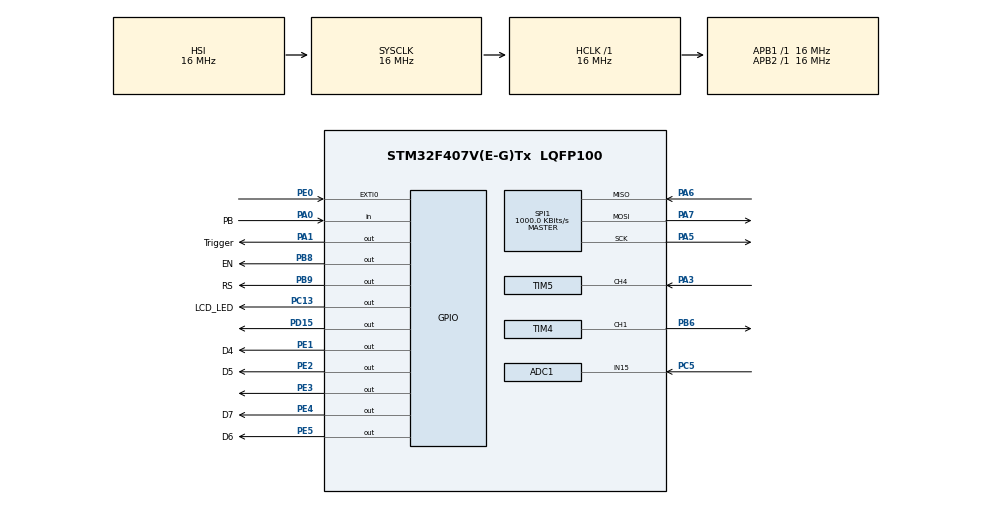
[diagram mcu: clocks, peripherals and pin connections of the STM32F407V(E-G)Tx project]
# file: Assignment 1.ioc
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ADC1.Channel-0\#ChannelRegularConversion=ADC_CHANNEL_15
ADC1.NbrOfConversionFlag=1
ADC1.Rank-0\#ChannelRegularConversion=1
ADC1.Resolution=ADC_RESOLUTION_12B
ADC1.SamplingTime-0\#ChannelRegularConversion=ADC_SAMPLETIME_3CYCLES
ADC1.master=1
Mcu.Family=STM32F4
Mcu.Name=STM32F407V(E-G)Tx
Mcu.Package=LQFP100
NVIC.EXTI0_IRQn=true\:0\:0\:false\:false\:true\:true\:true
NVIC.PriorityGroup=NVIC_PRIORITYGROUP_4
NVIC.TIM5_IRQn=true\:0\:0\:false\:false\:true\:true\:true
PA0-WKUP.GPIO_Label=PB
PA0-WKUP.Signal=GPIO_Input
PA1.GPIO_Label=Trigger
PA1.Signal=GPIO_Output
PA3.Signal=S_TIM5_CH4
PA5.Mode=Full_Duplex_Master
PA5.Signal=SPI1_SCK
PA6.Mode=Full_Duplex_Master
PA6.Signal=SPI1_MISO
PA7.Mode=Full_Duplex_Master
PA7.Signal=SPI1_MOSI
PB6.Signal=S_TIM4_CH1
PB8.GPIO_Label=EN
PB8.Signal=GPIO_Output
PB9.GPIO_Label=RS
PB9.Signal=GPIO_Output
PC13-ANTI_TAMP.GPIO_Label=LCD_LED
PC13-ANTI_TAMP.Signal=GPIO_Output
PC5.Signal=ADCx_IN15
PD15.Signal=GPIO_Output
PE0.Signal=GPXTI0
PE1.GPIO_Label=D4
PE1.Signal=GPIO_Output
PE2.GPIO_Label=D5
PE2.Signal=GPIO_Output
PE3.PinState=GPIO_PIN_SET
PE3.Signal=GPIO_Output
PE4.GPIO_Label=D7
PE4.Signal=GPIO_Output
PE5.GPIO_Label=D6
PE5.Signal=GPIO_Output
ProjectManager.HeapSize=0x200
ProjectManager.StackSize=0x400
ProjectManager.TargetToolchain=MDK-ARM V5
RCC.AHBFreq_Value=16000000
RCC.APB1Freq_Value=16000000
RCC.APB2Freq_Value=16000000
RCC.CortexFreq_Value=16000000
RCC.HSE_VALUE=25000000
RCC.HSI_VALUE=16000000
RCC.LSE_VALUE=32768
RCC.SYSCLKFreq_VALUE=16000000
RCC.VCOOutputFreq_Value=192000000
SH.ADCx_IN15.0=ADC1_IN15,IN15
SH.S_TIM4_CH1.0=TIM4_CH1,PWM Generation1 CH1
SH.S_TIM5_CH4.0=TIM5_CH4,Input_Capture4_from_TI4
SPI1.BaudRatePrescaler=SPI_BAUDRATEPRESCALER_16
SPI1.CalculateBaudRate=1000.0 KBits/s
SPI1.Direction=SPI_DIRECTION_2LINES
SPI1.Mode=SPI_MODE_MASTER
SPI1.VirtualType=VM_MASTER
TIM4.Channel-PWM\ Generation1\ CH1=TIM_CHANNEL_1
TIM4.Period=100
TIM4.Prescaler=16
TIM4.Pulse-PWM\ Generation1\ CH1=10
TIM5.Channel-Input_Capture4_from_TI4=TIM_CHANNEL_4
TIM5.ICFilter_CH4=4
TIM5.ICPolarity_CH4=TIM_INPUTCHANNELPOLARITY_BOTHEDGE
TIM5.Prescaler=16-1
VP_TIM4_VS_ClockSourceINT.Mode=Internal
VP_TIM5_VS_ClockSourceINT.Mode=Internal
board=custom

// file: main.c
/* USER CODE BEGIN Header */
/**
  ******************************************************************************
  * @file           : main.c
  * @brief          : Main program body
  ******************************************************************************
  * @attention
  *
  * <h2><center>&copy; Copyright (c) 2021 STMicroelectronics.
  * All rights reserved.</center></h2>
  *
  * This software component is licensed by ST under BSD 3-Clause license,
  * the "License"; You may not use this file except in compliance with the
  * License. You may obtain a copy of the License at:
  *                        opensource.org/licenses/BSD-3-Clause
  *
  ******************************************************************************
  */
/* USER CODE END Header */
#include "main.h"

/* USER CODE BEGIN Includes */
#include "STM_MY_LCD16X2.h"
/* USER CODE END Includes */

/* USER CODE BEGIN PTD */
#define usTIM TIM4
/* USER CODE END PTD */

ADC_HandleTypeDef hadc1;

SPI_HandleTypeDef hspi1;

TIM_HandleTypeDef htim4;
TIM_HandleTypeDef htim5;

void SystemClock_Config(void);
static void MX_GPIO_Init(void);
static void MX_ADC1_Init(void);
static void MX_TIM4_Init(void);
static void MX_TIM5_Init(void);
static void MX_SPI1_Init(void);
/* USER CODE BEGIN PFP */
void usDelay(uint32_t uSec);
/* USER CODE END PFP */

/* USER CODE BEGIN 0 */
// Speed of sound divided by two as 2 directions
const float speedOfSound = 0.0343/2;
float distance;
uint32_t adcValue;
uint8_t icFlag = 0;
uint8_t captureIdx=0;
uint32_t edge1Time=0, edge2Time=0;

// For SPI
uint8_t spiTxBuf[2];
uint8_t spiRxBuf[6];
uint16_t x_data;
uint16_t y_data;
uint16_t z_data;
/* USER CODE END 0 */

int main(void)
{

  /* MCU Configuration--------------------------------------------------------*/

  /* Reset of all peripherals, Initializes the Flash interface and the Systick. */
  HAL_Init();

  /* Configure the system clock */
  SystemClock_Config();

  /* Initialize all configured peripherals */
  MX_GPIO_Init();
  MX_ADC1_Init();
  MX_TIM4_Init();
  MX_TIM5_Init();
  MX_SPI1_Init();
  /* USER CODE BEGIN 2 */
	LCD1602_Begin4BIT(GPIOB, RS_Pin, EN_Pin, GPIOE, D4_Pin, D5_Pin, D6_Pin, D7_Pin);
  LCD1602_noCursor();
  LCD1602_noBlink();
  LCD1602_clear();
  /* USER CODE END 2 */

  /* Infinite loop */
  /* USER CODE BEGIN WHILE */
  char student_name[] = "Ciaran Mallory";
  char student_number[] = "K00238250";
	//uint32_t numTicks = 0;
	float adcVoltage = 0.0;
	uint32_t duty_cycle = 0;
	uint8_t count = 0;
	//GPIO_PinState PinState;

  HAL_GPIO_WritePin(GPIOC, LCD_LED_Pin, GPIO_PIN_SET);
  HAL_GPIO_WritePin(GPIOD, GPIO_PIN_12, GPIO_PIN_SET);

	// Printing Name and K number to LCD
	HAL_Delay(500);
	LCD1602_print(student_name);
	LCD1602_2ndLine();
	LCD1602_print(student_number);

	HAL_Delay(3000);
	LCD1602_clear();

	// Start PWM Channel
	HAL_TIM_PWM_Start(&htim4, TIM_CHANNEL_1);

  while (1)
  {
    /* USER CODE END WHILE */

    /* USER CODE BEGIN 3 */
			// Set up PWM channel
			htim4.Instance->CCR4 = adcValue;
			//while(HAL_GPIO_ReadPin(GPIOA, GPIO_PIN_0) == 0);
			//HAL_Delay(10);
			//count++;
			//count = count % 5;
			count++;

			switch(count)
			{
				case(1):
					LCD1602_clear();
					//LCD1602_clear();
					// Reading value from ADC pin PC5
					HAL_ADC_Start(&hadc1);
					if(HAL_ADC_PollForConversion(&hadc1, 5) == HAL_OK)
					{
						adcValue = HAL_ADC_GetValue(&hadc1);
					}
					HAL_ADC_Stop(&hadc1);
					HAL_Delay(100);

					LCD1602_1stLine();
					LCD1602_print("ADC Value: ");
					LCD1602_PrintInt(adcValue);
					adcVoltage = (float)adcValue * (3.0/4096.0);
					LCD1602_2ndLine();
					LCD1602_print("ADC Voltage: ");
					LCD1602_PrintFloat(adcVoltage,4);

					HAL_Delay(500);
					//LCD1602_clear();

				case(2):
					HAL_Delay(5000);
					LCD1602_clear();
					// Reading value from ADC pin PC5
					HAL_ADC_Start(&hadc1);
					if(HAL_ADC_PollForConversion(&hadc1, 5) == HAL_OK)
					{
						adcValue = HAL_ADC_GetValue(&hadc1);
					}
					HAL_ADC_Stop(&hadc1);
					HAL_Delay(100);

					//LCD1602_clear();
					duty_cycle = (uint32_t)(adcValue * 100/4096);
					adcVoltage = (float)adcValue * (3.0/4096.0);
					LCD1602_1stLine();
					LCD1602_print("ADC Voltage: ");
					LCD1602_PrintFloat(adcVoltage,4);
					LCD1602_2ndLine();
					LCD1602_print("Duty Cycle: ");
					LCD1602_PrintInt(duty_cycle);
					LCD1602_print("%");

					HAL_Delay(500);
					//LCD1602_clear();

				case(3):
					HAL_Delay(5000);
					LCD1602_clear();
					// Ultrasonic input capture method
					//Set TRIG to LOW for few uSec
					HAL_GPIO_WritePin(Trigger_GPIO_Port, Trigger_Pin, GPIO_PIN_RESET);
					usDelay(3);

					//*** START Ultrasonic measure routine ***//
					//1. Output 10 usec TRIG
					HAL_GPIO_WritePin(Trigger_GPIO_Port, Trigger_Pin, GPIO_PIN_SET);
					usDelay(10);
					HAL_GPIO_WritePin(Trigger_GPIO_Port, Trigger_Pin, GPIO_PIN_RESET);

					//2. ECHO signal pulse width
					//Start IC timer
					HAL_TIM_IC_Start_IT(&htim5, TIM_CHANNEL_4);
					//Wait for IC flag
					uint32_t startTick = HAL_GetTick();
					do
					{
						if(icFlag) break;
					}while((HAL_GetTick() - startTick) < 500);  //500ms
					icFlag = 0;
					HAL_TIM_IC_Stop_IT(&htim5, TIM_CHANNEL_4);

					//Calculate distance in cm
					if(edge2Time > edge1Time)
					{
						distance = ((edge2Time - edge1Time) + 0.0f)*speedOfSound;
					}
					else
					{
						distance = 0.0f;
					}

					// Print to LCD
					LCD1602_1stLine();
					LCD1602_print("Distance: ");
					LCD1602_PrintFloat(distance,4);
					HAL_Delay(500);
					//LCD1602_clear();
					//while(HAL_GPIO_ReadPin(GPIOA, GPIO_PIN_0) == 1);
					//HAL_Delay(10);

				case(4):
					LCD1602_clear();
					// SPI Transmit
					// 1. Bring slave select line low
					HAL_GPIO_WritePin(GPIOE, GPIO_PIN_3, GPIO_PIN_RESET);
					// 2. Transmit register address & data
					spiTxBuf[0] = 0x23; // Register Address 0x20 -- CTRL REG4
					spiRxBuf[1] = 0xC8; // Enable x,y,z axis and set Data rate to 3.125Hz
					HAL_SPI_Transmit(&hspi1, spiTxBuf, 2, 50); // Send 2 bytes
					// 3. Bring slave select line high
					HAL_GPIO_WritePin(GPIOE, GPIO_PIN_3, GPIO_PIN_SET);

					// SPI Receive
					// 1. Bring slave select line high
					HAL_GPIO_WritePin(GPIOE, GPIO_PIN_3, GPIO_PIN_RESET);
					// 2. Transmit register address + 0x80 (set MSB to high for read mode)
					spiTxBuf[0] = 0x20 |0x80; // Register address 0x20 -- CTRL REG4 in read mode
					HAL_SPI_Transmit(&hspi1, spiTxBuf, 1, 50); // send 1 byte
					// 3. Receive data
					HAL_SPI_Receive(&hspi1, spiRxBuf, 6, 50); // Receive 1 byte
							x_data = (spiRxBuf[1]<<8) | spiRxBuf[0];
							y_data = (spiRxBuf[3]<<8) | spiRxBuf[2];
							z_data = (spiRxBuf[5]<<8) | spiRxBuf[4];
					// 4. Bring slave select line high
					HAL_GPIO_WritePin(GPIOE, GPIO_PIN_3, GPIO_PIN_SET);
					HAL_Delay(500);

					// Print to LCD
					LCD1602_1stLine();
					LCD1602_print(" X: ");
					LCD1602_PrintFloat(x_data,1);
					LCD1602_print(" Y: ");
					LCD1602_PrintFloat(y_data,1);
					LCD1602_2ndLine();
					LCD1602_print(" Z: ");
					LCD1602_PrintFloat(z_data,1);
					HAL_Delay(500);
					count = 1;

			// Toggling LED
      HAL_GPIO_TogglePin(GPIOC, LCD_LED_Pin);
      HAL_GPIO_TogglePin(GPIOD, GPIO_PIN_12);

      HAL_Delay(500);

      HAL_GPIO_TogglePin(GPIOD, LCD_LED_Pin);
      HAL_GPIO_TogglePin(GPIOD, GPIO_PIN_12);

  }
}
  /* USER CODE END 3 */
}

void SystemClock_Config(void)
{
  RCC_OscInitTypeDef RCC_OscInitStruct = {0};
  RCC_ClkInitTypeDef RCC_ClkInitStruct = {0};

  /** Configure the main internal regulator output voltage
  */
  __HAL_RCC_PWR_CLK_ENABLE();
  __HAL_PWR_VOLTAGESCALING_CONFIG(PWR_REGULATOR_VOLTAGE_SCALE1);
  /** Initializes the RCC Oscillators according to the specified parameters
  * in the RCC_OscInitTypeDef structure.
  */
  RCC_OscInitStruct.OscillatorType = RCC_OSCILLATORTYPE_HSI|RCC_OSCILLATORTYPE_LSI;
  RCC_OscInitStruct.HSIState = RCC_HSI_ON;
  RCC_OscInitStruct.HSICalibrationValue = RCC_HSICALIBRATION_DEFAULT;
  RCC_OscInitStruct.LSIState = RCC_LSI_ON;
  RCC_OscInitStruct.PLL.PLLState = RCC_PLL_NONE;
  if (HAL_RCC_OscConfig(&RCC_OscInitStruct) != HAL_OK)
  {
    Error_Handler();
  }
  /** Initializes the CPU, AHB and APB buses clocks
  */
  RCC_ClkInitStruct.ClockType = RCC_CLOCKTYPE_HCLK|RCC_CLOCKTYPE_SYSCLK
                              |RCC_CLOCKTYPE_PCLK1|RCC_CLOCKTYPE_PCLK2;
  RCC_ClkInitStruct.SYSCLKSource = RCC_SYSCLKSOURCE_HSI;
  RCC_ClkInitStruct.AHBCLKDivider = RCC_SYSCLK_DIV1;
  RCC_ClkInitStruct.APB1CLKDivider = RCC_HCLK_DIV1;
  RCC_ClkInitStruct.APB2CLKDivider = RCC_HCLK_DIV1;

  if (HAL_RCC_ClockConfig(&RCC_ClkInitStruct, FLASH_LATENCY_0) != HAL_OK)
  {
    Error_Handler();
  }
}

static void MX_ADC1_Init(void)
{

  ADC_ChannelConfTypeDef sConfig = {0};

  /** Configure the global features of the ADC (Clock, Resolution, Data Alignment and number of conversion)
  */
  hadc1.Instance = ADC1;
  hadc1.Init.ClockPrescaler = ADC_CLOCK_SYNC_PCLK_DIV2;
  hadc1.Init.Resolution = ADC_RESOLUTION_12B;
  hadc1.Init.ScanConvMode = DISABLE;
  hadc1.Init.ContinuousConvMode = DISABLE;
  hadc1.Init.DiscontinuousConvMode = DISABLE;
  hadc1.Init.ExternalTrigConvEdge = ADC_EXTERNALTRIGCONVEDGE_NONE;
  hadc1.Init.ExternalTrigConv = ADC_SOFTWARE_START;
  hadc1.Init.DataAlign = ADC_DATAALIGN_RIGHT;
  hadc1.Init.NbrOfConversion = 1;
  hadc1.Init.DMAContinuousRequests = DISABLE;
  hadc1.Init.EOCSelection = ADC_EOC_SINGLE_CONV;
  if (HAL_ADC_Init(&hadc1) != HAL_OK)
  {
    Error_Handler();
  }
  /** Configure for the selected ADC regular channel its corresponding rank in the sequencer and its sample time.
  */
  sConfig.Channel = ADC_CHANNEL_15;
  sConfig.Rank = 1;
  sConfig.SamplingTime = ADC_SAMPLETIME_3CYCLES;
  if (HAL_ADC_ConfigChannel(&hadc1, &sConfig) != HAL_OK)
  {
    Error_Handler();
  }

}

static void MX_SPI1_Init(void)
{

  /* SPI1 parameter configuration*/
  hspi1.Instance = SPI1;
  hspi1.Init.Mode = SPI_MODE_MASTER;
  hspi1.Init.Direction = SPI_DIRECTION_2LINES;
  hspi1.Init.DataSize = SPI_DATASIZE_8BIT;
  hspi1.Init.CLKPolarity = SPI_POLARITY_LOW;
  hspi1.Init.CLKPhase = SPI_PHASE_1EDGE;
  hspi1.Init.NSS = SPI_NSS_SOFT;
  hspi1.Init.BaudRatePrescaler = SPI_BAUDRATEPRESCALER_16;
  hspi1.Init.FirstBit = SPI_FIRSTBIT_MSB;
  hspi1.Init.TIMode = SPI_TIMODE_DISABLE;
  hspi1.Init.CRCCalculation = SPI_CRCCALCULATION_DISABLE;
  hspi1.Init.CRCPolynomial = 10;
  if (HAL_SPI_Init(&hspi1) != HAL_OK)
  {
    Error_Handler();
  }

}

static void MX_TIM4_Init(void)
{

  TIM_ClockConfigTypeDef sClockSourceConfig = {0};
  TIM_MasterConfigTypeDef sMasterConfig = {0};
  TIM_OC_InitTypeDef sConfigOC = {0};

  htim4.Instance = TIM4;
  htim4.Init.Prescaler = 16;
  htim4.Init.CounterMode = TIM_COUNTERMODE_UP;
  htim4.Init.Period = 100;
  htim4.Init.ClockDivision = TIM_CLOCKDIVISION_DIV1;
  htim4.Init.AutoReloadPreload = TIM_AUTORELOAD_PRELOAD_DISABLE;
  if (HAL_TIM_Base_Init(&htim4) != HAL_OK)
  {
    Error_Handler();
  }
  sClockSourceConfig.ClockSource = TIM_CLOCKSOURCE_INTERNAL;
  if (HAL_TIM_ConfigClockSource(&htim4, &sClockSourceConfig) != HAL_OK)
  {
    Error_Handler();
  }
  if (HAL_TIM_PWM_Init(&htim4) != HAL_OK)
  {
    Error_Handler();
  }
  sMasterConfig.MasterOutputTrigger = TIM_TRGO_RESET;
  sMasterConfig.MasterSlaveMode = TIM_MASTERSLAVEMODE_DISABLE;
  if (HAL_TIMEx_MasterConfigSynchronization(&htim4, &sMasterConfig) != HAL_OK)
  {
    Error_Handler();
  }
  sConfigOC.OCMode = TIM_OCMODE_PWM1;
  sConfigOC.Pulse = 10;
  sConfigOC.OCPolarity = TIM_OCPOLARITY_HIGH;
  sConfigOC.OCFastMode = TIM_OCFAST_DISABLE;
  if (HAL_TIM_PWM_ConfigChannel(&htim4, &sConfigOC, TIM_CHANNEL_1) != HAL_OK)
  {
    Error_Handler();
  }
  HAL_TIM_MspPostInit(&htim4);

}

static void MX_TIM5_Init(void)
{

  TIM_ClockConfigTypeDef sClockSourceConfig = {0};
  TIM_MasterConfigTypeDef sMasterConfig = {0};
  TIM_IC_InitTypeDef sConfigIC = {0};

  htim5.Instance = TIM5;
  htim5.Init.Prescaler = 16-1;
  htim5.Init.CounterMode = TIM_COUNTERMODE_UP;
  htim5.Init.Period = 4294967295;
  htim5.Init.ClockDivision = TIM_CLOCKDIVISION_DIV1;
  htim5.Init.AutoReloadPreload = TIM_AUTORELOAD_PRELOAD_DISABLE;
  if (HAL_TIM_Base_Init(&htim5) != HAL_OK)
  {
    Error_Handler();
  }
  sClockSourceConfig.ClockSource = TIM_CLOCKSOURCE_INTERNAL;
  if (HAL_TIM_ConfigClockSource(&htim5, &sClockSourceConfig) != HAL_OK)
  {
    Error_Handler();
  }
  if (HAL_TIM_IC_Init(&htim5) != HAL_OK)
  {
    Error_Handler();
  }
  sMasterConfig.MasterOutputTrigger = TIM_TRGO_RESET;
  sMasterConfig.MasterSlaveMode = TIM_MASTERSLAVEMODE_DISABLE;
  if (HAL_TIMEx_MasterConfigSynchronization(&htim5, &sMasterConfig) != HAL_OK)
  {
    Error_Handler();
  }
  sConfigIC.ICPolarity = TIM_INPUTCHANNELPOLARITY_BOTHEDGE;
  sConfigIC.ICSelection = TIM_ICSELECTION_DIRECTTI;
  sConfigIC.ICPrescaler = TIM_ICPSC_DIV1;
  sConfigIC.ICFilter = 4;
  if (HAL_TIM_IC_ConfigChannel(&htim5, &sConfigIC, TIM_CHANNEL_4) != HAL_OK)
  {
    Error_Handler();
  }

}

static void MX_GPIO_Init(void)
{
  GPIO_InitTypeDef GPIO_InitStruct = {0};

  /* GPIO Ports Clock Enable */
  __HAL_RCC_GPIOE_CLK_ENABLE();
  __HAL_RCC_GPIOC_CLK_ENABLE();
  __HAL_RCC_GPIOA_CLK_ENABLE();
  __HAL_RCC_GPIOD_CLK_ENABLE();
  __HAL_RCC_GPIOB_CLK_ENABLE();

  /*Configure GPIO pin Output Level */
  HAL_GPIO_WritePin(GPIOE, D5_Pin|D7_Pin|D6_Pin|D4_Pin, GPIO_PIN_RESET);

  /*Configure GPIO pin Output Level */
  HAL_GPIO_WritePin(GPIOE, GPIO_PIN_3, GPIO_PIN_SET);

  /*Configure GPIO pin Output Level */
  HAL_GPIO_WritePin(LCD_LED_GPIO_Port, LCD_LED_Pin, GPIO_PIN_RESET);

  /*Configure GPIO pin Output Level */
  HAL_GPIO_WritePin(Trigger_GPIO_Port, Trigger_Pin, GPIO_PIN_RESET);

  /*Configure GPIO pin Output Level */
  HAL_GPIO_WritePin(GPIOD, GPIO_PIN_15, GPIO_PIN_RESET);

  /*Configure GPIO pin Output Level */
  HAL_GPIO_WritePin(GPIOB, EN_Pin|RS_Pin, GPIO_PIN_RESET);

  /*Configure GPIO pins : D5_Pin PE3 D7_Pin D6_Pin
                           D4_Pin */
  GPIO_InitStruct.Pin = D5_Pin|GPIO_PIN_3|D7_Pin|D6_Pin
                          |D4_Pin;
  GPIO_InitStruct.Mode = GPIO_MODE_OUTPUT_PP;
  GPIO_InitStruct.Pull = GPIO_NOPULL;
  GPIO_InitStruct.Speed = GPIO_SPEED_FREQ_LOW;
  HAL_GPIO_Init(GPIOE, &GPIO_InitStruct);

  /*Configure GPIO pin : LCD_LED_Pin */
  GPIO_InitStruct.Pin = LCD_LED_Pin;
  GPIO_InitStruct.Mode = GPIO_MODE_OUTPUT_PP;
  GPIO_InitStruct.Pull = GPIO_NOPULL;
  GPIO_InitStruct.Speed = GPIO_SPEED_FREQ_LOW;
  HAL_GPIO_Init(LCD_LED_GPIO_Port, &GPIO_InitStruct);

  /*Configure GPIO pin : PB_Pin */
  GPIO_InitStruct.Pin = PB_Pin;
  GPIO_InitStruct.Mode = GPIO_MODE_INPUT;
  GPIO_InitStruct.Pull = GPIO_NOPULL;
  HAL_GPIO_Init(PB_GPIO_Port, &GPIO_InitStruct);

  /*Configure GPIO pin : Trigger_Pin */
  GPIO_InitStruct.Pin = Trigger_Pin;
  GPIO_InitStruct.Mode = GPIO_MODE_OUTPUT_PP;
  GPIO_InitStruct.Pull = GPIO_NOPULL;
  GPIO_InitStruct.Speed = GPIO_SPEED_FREQ_LOW;
  HAL_GPIO_Init(Trigger_GPIO_Port, &GPIO_InitStruct);

  /*Configure GPIO pin : PD15 */
  GPIO_InitStruct.Pin = GPIO_PIN_15;
  GPIO_InitStruct.Mode = GPIO_MODE_OUTPUT_PP;
  GPIO_InitStruct.Pull = GPIO_NOPULL;
  GPIO_InitStruct.Speed = GPIO_SPEED_FREQ_LOW;
  HAL_GPIO_Init(GPIOD, &GPIO_InitStruct);

  /*Configure GPIO pins : EN_Pin RS_Pin */
  GPIO_InitStruct.Pin = EN_Pin|RS_Pin;
  GPIO_InitStruct.Mode = GPIO_MODE_OUTPUT_PP;
  GPIO_InitStruct.Pull = GPIO_NOPULL;
  GPIO_InitStruct.Speed = GPIO_SPEED_FREQ_LOW;
  HAL_GPIO_Init(GPIOB, &GPIO_InitStruct);

  /*Configure GPIO pin : PE0 */
  GPIO_InitStruct.Pin = GPIO_PIN_0;
  GPIO_InitStruct.Mode = GPIO_MODE_IT_RISING;
  GPIO_InitStruct.Pull = GPIO_NOPULL;
  HAL_GPIO_Init(GPIOE, &GPIO_InitStruct);

  /* EXTI interrupt init*/
  HAL_NVIC_SetPriority(EXTI0_IRQn, 0, 0);
  HAL_NVIC_EnableIRQ(EXTI0_IRQn);

}

/* USER CODE BEGIN 4 */
void usDelay(uint32_t uSec)
{
	if(uSec < 2) uSec = 2;
	usTIM->ARR = uSec - 1;
	usTIM->EGR = 1;
	usTIM->SR &= ~1;
	usTIM->CR1 |= 1;
	while((usTIM->SR&0x0001) != 1);
	usTIM->SR &= ~(0x0001);
}

void HAL_TIM_IC_CaptureCallback(TIM_HandleTypeDef *htim)
{

		if(captureIdx == 0) //Fisrt edge
		{
			edge1Time = HAL_TIM_ReadCapturedValue(htim, TIM_CHANNEL_4); //__HAL_TIM_GetCounter(&htim3);//

			captureIdx = 1;
		}
		else if(captureIdx == 1) //Second edge
		{
			edge2Time = HAL_TIM_ReadCapturedValue(htim, TIM_CHANNEL_4);
			captureIdx = 0;
			icFlag = 1;
		}
}
/*
void HAL_GPIO_EXTI_Callback(uint16_t GPIO_Pin)
{
	UNUSED(GPIO_Pin);

	// SPI Receive
	// 1. Bring slave select line high
	HAL_GPIO_WritePin(GPIOE, GPIO_PIN_3, GPIO_PIN_RESET);
	// 2. Transmit register address + 0x80 (set MSB to high for read mode)
	spiTxBuf[0] = 0x28 |0x80; // Register address 0x20 -- CTRL REG4 in read mode
	HAL_SPI_Transmit(&hspi1, spiTxBuf, 1, 50); // send 1 byte
	// 3. Receive data
	HAL_SPI_Receive(&hspi1, spiRxBuf, 6, 50); // Receive 1 byte
			x_data = (spiRxBuf[1]<<8) | spiRxBuf[0];
			y_data = (spiRxBuf[3]<<8) | spiRxBuf[2];
			z_data = (spiRxBuf[5]<<8) | spiRxBuf[4];
	// 4. Bring slave select line high
	HAL_GPIO_WritePin(GPIOE, GPIO_PIN_3, GPIO_PIN_SET);
	HAL_Delay(500);

	// Print to LCD
	LCD1602_1stLine();
	LCD1602_print(" X: ");
	LCD1602_PrintFloat(x_data,1);
	LCD1602_print(" Y: ");
	LCD1602_PrintFloat(y_data,1);
	LCD1602_2ndLine();
	LCD1602_print(" Z: ");
	LCD1602_PrintFloat(z_data,1);
	HAL_Delay(500);
}*/
/* USER CODE END 4 */

void Error_Handler(void)
{
  __disable_irq();
  while (1)
  {
  }
}

/************************ (C) COPYRIGHT STMicroelectronics *****END OF FILE****/
